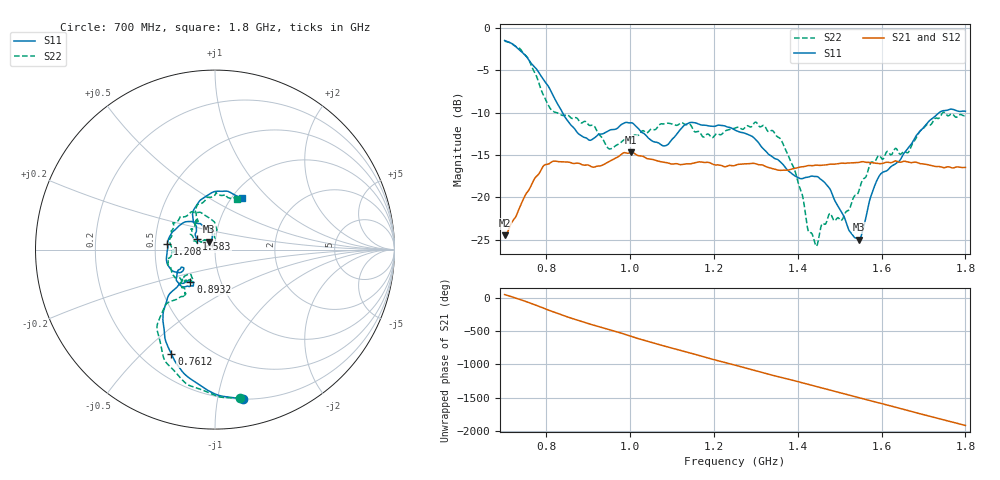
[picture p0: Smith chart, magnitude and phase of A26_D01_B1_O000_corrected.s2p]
! Created with skrf 1.9.0 (http://scikit-rf.org).
# Hz S RI R 50.0
!freq ReS11 ImS11 ReS21 ImS21 ReS12 ImS12 ReS22 ImS22
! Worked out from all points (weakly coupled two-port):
!   1601 points, 700 MHz to 1.8 GHz, reference 50 ohm
!   highest |S21| = -14.68 dB at 1.002 GHz (marker M1); lowest = -24.4 dB at 700 MHz (marker M2)
!   lowest |S11| = -25.0 dB at 1.546 GHz (marker M3), VSWR 1.12, Z = 46.4 + j4.1 ohm
!   |S11| at or under -10 dB: 838.4 MHz to 1.737 GHz (898.1 MHz wide, 69.8 % of centre)
!   |S22| runs from -25.8 to -1.5 dB; largest |S21 - S12| = 0.0037
!   S11 on the Smith chart (normalised r, x): 700 MHz: 0.20, -1.19; 761.2 MHz: 0.32, -0.62; 893.2 MHz: 0.72, -0.27; 1.208 GHz: 0.58, +0.04; 1.583 GHz: 0.81, +0.10; 1.8 GHz: 1.12, +0.71
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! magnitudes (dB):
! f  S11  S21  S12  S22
! 700 MHz  -1.5  -24.4  -24.2  -1.5
! 761.2 MHz  -4.0  -18.8  -18.7  -4.1
! 811.4 MHz  -7.5  -15.8  -15.8  -9.6
! 883.6 MHz  -12.7  -16.1  -16.0  -11.2
! 893.2 MHz  -12.9  -16.2  -16.2  -11.0
! 950.2 MHz  -12.1  -15.7  -15.7  -14.3
! 1.002 GHz  -11.2  -14.7  -14.8  -13.0
! 1.067 GHz  -13.6  -15.7  -15.7  -11.5
! 1.141 GHz  -11.2  -16.0  -16.0  -11.3
! 1.208 GHz  -11.5  -16.1  -16.2  -12.5
! 1.25 GHz  -12.0  -16.2  -16.1  -11.8
! 1.359 GHz  -15.8  -16.8  -16.8  -13.1
! 1.393 GHz  -17.5  -16.6  -16.6  -16.8
! 1.434 GHz  -17.5  -16.2  -16.2  -24.3
! 1.445 GHz  -17.5  -16.2  -16.2  -25.7
! 1.506 GHz  -21.8  -15.9  -15.9  -22.6
! 1.546 GHz  -25.0  -15.8  -15.8  -19.1
! 1.583 GHz  -18.6  -15.9  -16.0  -15.8
! 1.617 GHz  -16.6  -15.9  -15.8  -14.7
! 1.663 GHz  -14.2  -15.8  -15.8  -14.7
! 1.737 GHz  -10.0  -16.3  -16.4  -10.6
! 1.8 GHz  -9.8  -16.5  -16.4  -10.3
